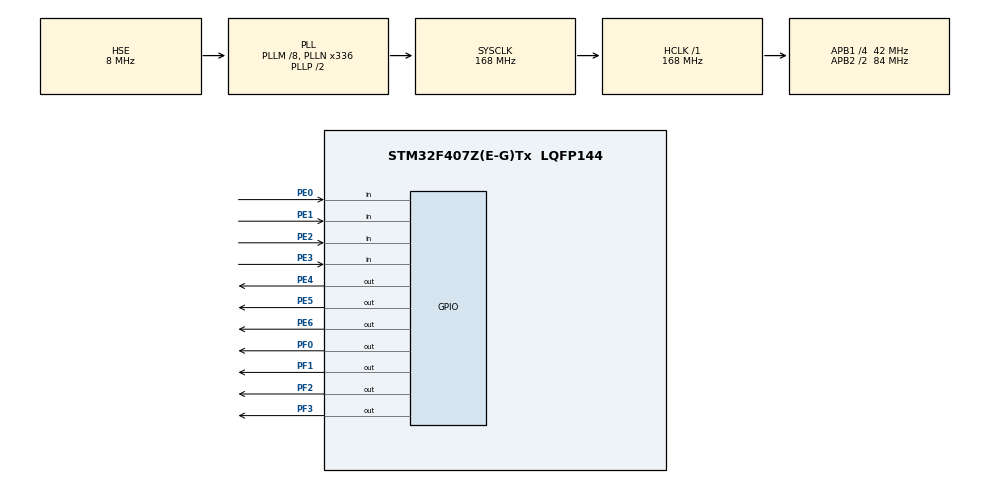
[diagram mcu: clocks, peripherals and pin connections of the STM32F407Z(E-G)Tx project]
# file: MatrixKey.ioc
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Mcu.Family=STM32F4
Mcu.Name=STM32F407Z(E-G)Tx
Mcu.Package=LQFP144
NVIC.PriorityGroup=NVIC_PRIORITYGROUP_4
PA13.Mode=Serial_Wire
PA13.Signal=SYS_JTMS-SWDIO
PA14.Mode=Serial_Wire
PA14.Signal=SYS_JTCK-SWCLK
PE0.GPIO_PuPd=GPIO_PULLUP
PE0.Signal=GPIO_Input
PE1.GPIO_PuPd=GPIO_PULLUP
PE1.Signal=GPIO_Input
PE2.GPIO_PuPd=GPIO_PULLUP
PE2.Signal=GPIO_Input
PE3.GPIO_PuPd=GPIO_PULLUP
PE3.Signal=GPIO_Input
PE4.PinState=GPIO_PIN_SET
PE4.Signal=GPIO_Output
PE5.PinState=GPIO_PIN_SET
PE5.Signal=GPIO_Output
PE6.PinState=GPIO_PIN_SET
PE6.Signal=GPIO_Output
PF0.PinState=GPIO_PIN_SET
PF0.Signal=GPIO_Output
PF1.PinState=GPIO_PIN_SET
PF1.Signal=GPIO_Output
PF2.PinState=GPIO_PIN_SET
PF2.Signal=GPIO_Output
PF3.PinState=GPIO_PIN_SET
PF3.Signal=GPIO_Output
PH0-OSC_IN.Mode=HSE-External-Oscillator
PH0-OSC_IN.Signal=RCC_OSC_IN
PH1-OSC_OUT.Mode=HSE-External-Oscillator
PH1-OSC_OUT.Signal=RCC_OSC_OUT
ProjectManager.HeapSize=0x200
ProjectManager.StackSize=0x400
ProjectManager.TargetToolchain=MDK-ARM V5.32
RCC.48MHZClocksFreq_Value=84000000
RCC.AHBFreq_Value=168000000
RCC.APB1CLKDivider=RCC_HCLK_DIV4
RCC.APB1Freq_Value=42000000
RCC.APB1TimFreq_Value=84000000
RCC.APB2CLKDivider=RCC_HCLK_DIV2
RCC.APB2Freq_Value=84000000
RCC.APB2TimFreq_Value=168000000
RCC.CortexFreq_Value=168000000
RCC.HCLKFreq_Value=168000000
RCC.HSE_VALUE=8000000
RCC.HSI_VALUE=16000000
RCC.LSE_VALUE=32768
RCC.PLLM=8
RCC.PLLN=336
RCC.PLLSourceVirtual=RCC_PLLSOURCE_HSE
RCC.SYSCLKFreq_VALUE=168000000
RCC.SYSCLKSource=RCC_SYSCLKSOURCE_PLLCLK
RCC.VCOOutputFreq_Value=336000000
board=custom

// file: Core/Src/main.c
/* USER CODE BEGIN Header */
/**
  ******************************************************************************
  * @file           : main.c
  * @brief          : Main program body
  ******************************************************************************
  * @attention
  *
  * Copyright (c) 2026 STMicroelectronics.
  * All rights reserved.
  *
  * This software is licensed under terms that can be found in the LICENSE file
  * in the root directory of this software component.
  * If no LICENSE file comes with this software, it is provided AS-IS.
  ******************************************************************************
  */
/* USER CODE END Header */
#include "main.h"
#include "gpio.h"

/* USER CODE BEGIN PV */
uint8_t KeyScan(void)
{
    uint8_t col;
    for(col = 0; col < 3; col++)
    {
        // 全部列PE4 PE5 PE6拉高
        GPIOE->ODR |= (1<<4) | (1<<5) | (1<<6);
        // 拉低当前扫描列
        GPIOE->ODR &= ~(1 << (4 + col));
        HAL_Delay(10);

        uint8_t row = GPIOE->IDR & 0x0F;
        if(row != 0x0F)
        {
            switch(row)
            {
                case 0x0E: return col*4 + 1;  //PE0 → K1
                case 0x0D: return col*4 + 2;  //PE1 → K2
                case 0x0B: return col*4 + 3;  //PE2 → K3
                case 0x07: return col*4 + 4;  //PE3 → K4
            }
            while( (GPIOE->IDR & 0x0F) != 0x0F ); //等待松手
        }
    }
    return 0;
}
/* USER CODE END PV */

void SystemClock_Config(void);

int main(void)
{
  /* USER CODE BEGIN 1 */
  uint8_t key;
  /* USER CODE END 1 */

  /* MCU Configuration--------------------------------------------------------*/

  /* Reset of all peripherals, Initializes the Flash interface and the Systick. */
  HAL_Init();

  /* Configure the system clock */
  SystemClock_Config();

  /* Initialize all configured peripherals */
  MX_GPIO_Init();

  /* Infinite loop */
  /* USER CODE BEGIN WHILE */
  while (1)
  {
    key = KeyScan();
    if(key != 0)
    {
        GPIOF->ODR = ~key;   // 低电平点亮：取反！key二进制对应灯
    }
    else
    {
        GPIOF->ODR = 0x0F; // 无按键，PF0~PF3全部输出高电平 → 灯熄灭 ✅
    }
    HAL_Delay(20);
    /* USER CODE END WHILE */

  }
}

void SystemClock_Config(void)
{
  RCC_OscInitTypeDef RCC_OscInitStruct = {0};
  RCC_ClkInitTypeDef RCC_ClkInitStruct = {0};

  __HAL_RCC_PWR_CLK_ENABLE();
  __HAL_PWR_VOLTAGESCALING_CONFIG(PWR_REGULATOR_VOLTAGE_SCALE1);

  RCC_OscInitStruct.OscillatorType = RCC_OSCILLATORTYPE_HSE;
  RCC_OscInitStruct.HSEState = RCC_HSE_ON;
  RCC_OscInitStruct.PLL.PLLState = RCC_PLL_ON;
  RCC_OscInitStruct.PLL.PLLSource = RCC_PLLSOURCE_HSE;
  RCC_OscInitStruct.PLL.PLLM = 8;
  RCC_OscInitStruct.PLL.PLLN = 336;
  RCC_OscInitStruct.PLL.PLLP = RCC_PLLP_DIV2;
  RCC_OscInitStruct.PLL.PLLQ = 4;
  if (HAL_RCC_OscConfig(&RCC_OscInitStruct) != HAL_OK)
  {
    Error_Handler();
  }

  RCC_ClkInitStruct.ClockType = RCC_CLOCKTYPE_HCLK|RCC_CLOCKTYPE_SYSCLK
                              |RCC_CLOCKTYPE_PCLK1|RCC_CLOCKTYPE_PCLK2;
  RCC_ClkInitStruct.SYSCLKSource = RCC_SYSCLKSOURCE_PLLCLK;
  RCC_ClkInitStruct.AHBCLKDivider = RCC_SYSCLK_DIV1;
  RCC_ClkInitStruct.APB1CLKDivider = RCC_HCLK_DIV4;
  RCC_ClkInitStruct.APB2CLKDivider = RCC_HCLK_DIV2;

  if (HAL_RCC_ClockConfig(&RCC_ClkInitStruct, FLASH_LATENCY_5) != HAL_OK)
  {
    Error_Handler();
  }
}

void Error_Handler(void)
{
  __disable_irq();
  while (1)
  {
  }
}
